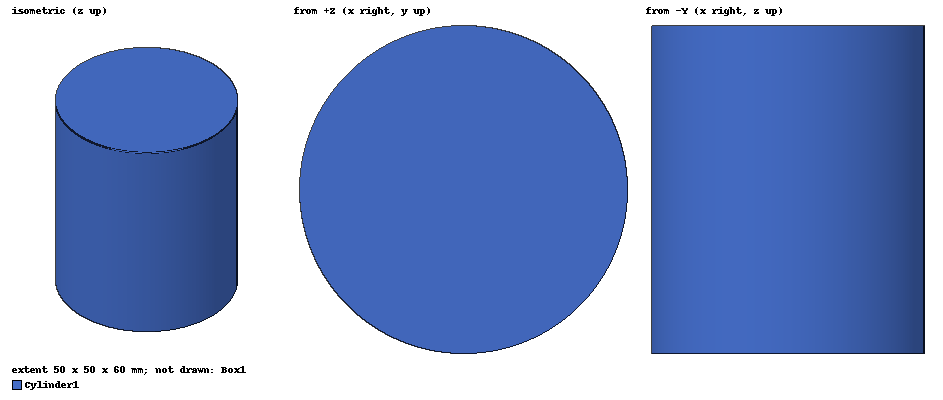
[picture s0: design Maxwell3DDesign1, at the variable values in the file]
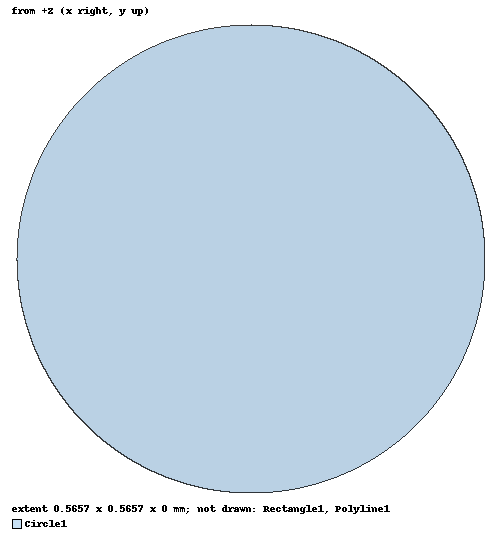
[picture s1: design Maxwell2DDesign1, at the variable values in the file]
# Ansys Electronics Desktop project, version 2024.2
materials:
  vacuum: permittivity=1
  Neodymium Magnet (Cusom): permeability=1.05 magnetic_coercivity{Magnitude=-979kA_per_meter DirComp1=0 DirComp2=0 DirComp3=1}
  air: permittivity=1.0006 permeability=1.0000004
  NdFe35: permittivity=1 permeability=1.0997785 conductivity=625000 magnetic_coercivity{Magnitude=-890000A_per_meter DirComp1=0 DirComp2=0 DirComp3=1} lande_g_factor=2

design Maxwell3DDesign1 (Maxwell 3D, Magnetostatic, model units mm)
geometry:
  coordinate_system RelativeCS1 = origin=(-1.25mm, 1mm, 0mm) x=(1mm, 0mm, 0mm) y=(0mm, 1mm, 0mm)
  coordinate_system RelativeCS2 = origin=(0mm, 0mm, 30mm) x=(1mm, 0mm, 0mm) y=(0mm, 1mm, 0mm) in RelativeCS1
  Cylinder1 [NdFe35] = cylinder(axis=Z, base_centre=(0mm, 0mm, 0mm), radius=25mm, height=60mm) in RelativeCS1
  Box1 [vacuum] = box(corner=(-240mm, -320mm, 0mm), size=(540mm, 720mm, 280mm)) in RelativeCS1
  Box1.move(120mm, 220mm, 0mm) in RelativeCS1
  Box1.move(-220mm, -220mm, 0mm) in RelativeCS1
  Box1.move(0mm, 0mm, -60mm) in RelativeCS1
  Box2 [vacuum, non-model] = box(corner=(160mm, 0mm, 0mm), size=(-160mm, 160mm, 260mm)) in RelativeCS1
  Box2.move(0mm, 0mm, -100mm) in RelativeCS1
  Rectangle1 [non-model] = rectangle(corner=(0mm, 0mm, 0mm), x_size=120mm, y_size=120mm) in RelativeCS1
  Rectangle1.move(0mm, 0mm, 20mm) in RelativeCS1
  Rectangle1_1 [non-model] = Rectangle1.duplicate_around_axis(axis=X, angle=90deg, total=2) in RelativeCS1
  Rectangle1_1.move(-120mm, 0mm, 50mm) in RelativeCS1
  Rectangle1_1.move(0mm, 20mm, 0mm) in RelativeCS1
  Rectangle1_1.move(0mm, 0mm, -20mm) in RelativeCS1
  Polyline1 [non-model] = polyline((0mm, 0mm, 120mm) (0mm, 0mm, 0mm)) in RelativeCS2
  point Point1 = (0mm, 0mm, 0mm) in RelativeCS2
  point Point2 = (0mm, 0mm, 10mm) in RelativeCS2
  point Point3 = (0mm, 0mm, 20mm) in RelativeCS2
  point Point4 = (0mm, -25mm, 30mm) in RelativeCS2
  point Point5 = (0mm, 0mm, 40mm) in RelativeCS2
  point Point6 = (0mm, 0mm, 50mm) in RelativeCS2
  point Point7 = (0mm, 0mm, 60mm) in RelativeCS2
  point Point8 = (0mm, 0mm, 70mm) in RelativeCS2
  point Point9 = (0mm, 0mm, 80mm) in RelativeCS2
  point Point10 = (0mm, 0mm, 90mm) in RelativeCS2
  point Point11 = (0mm, 0mm, 100mm) in RelativeCS2
  point Point12 = (-10mm, 0mm, 0mm) in RelativeCS2
  point Point13 = (-10mm, 0mm, 10mm) in RelativeCS2
  point Point14 = (-10mm, 0mm, 20mm) in RelativeCS2
  point Point15 = (-10mm, 0mm, 30mm) in RelativeCS2
  point Point16 = (-10mm, 0mm, 40mm) in RelativeCS2
  point Point17 = (-10mm, 0mm, 50mm) in RelativeCS2
  point Point18 = (-10mm, 0mm, 60mm) in RelativeCS2
  point Point19 = (-10mm, 0mm, 70mm) in RelativeCS2
  point Point20 = (-10mm, 0mm, 80mm) in RelativeCS2
  point Point21 = (-10mm, 0mm, 90mm) in RelativeCS2
  point Point22 = (-10mm, 0mm, 100mm) in RelativeCS2
  point Point23 = (-20mm, 0mm, 0mm) in RelativeCS2
  point Point24 = (-20mm, 0mm, 10mm) in RelativeCS2
  point Point25 = (-20mm, 0mm, 20mm) in RelativeCS2
  point Point26 = (-20mm, 0mm, 30mm) in RelativeCS2
  point Point27 = (-20mm, 0mm, 40mm) in RelativeCS2
  point Point28 = (-20mm, 0mm, 40mm) in RelativeCS2
  point Point29 = (-20mm, 0mm, 50mm) in RelativeCS2
  point Point30 = (-20mm, 0mm, 60mm) in RelativeCS2
  point Point31 = (-20mm, 0mm, 70mm) in RelativeCS2
  point Point32 = (-20mm, 0mm, 80mm) in RelativeCS2
  point Point33 = (-20mm, 0mm, 90mm) in RelativeCS2
  point Point34 = (-20mm, 0mm, 100mm) in RelativeCS2
  Cylinder1.rotate(axis=Z, angle=90deg) in RelativeCS2
  Box1.rotate(axis=Z, angle=90deg) in RelativeCS2
  Box2.rotate(axis=Z, angle=90deg) in RelativeCS2
  Rectangle1.rotate(axis=Z, angle=90deg) in RelativeCS2
  Rectangle1_1.rotate(axis=Z, angle=90deg) in RelativeCS2
  Polyline1.rotate(axis=Z, angle=90deg) in RelativeCS2
  [Cylinder1, Box1, Box2, Rectangle1, Rectangle1_1, Polyline1].rotate(axis=Z, angle=90deg) in RelativeCS2
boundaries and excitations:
  Insulating1: Insulating Objects=Box1
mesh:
  initial mesh: GlobalCurvilinear{Apply}
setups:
  Setup1: Magnetostatic MaximumPasses=10 MinimumPasses=2 MinimumConvergedPasses=1 PercentRefinement=30 PercentError=1 NonLinearResidual=0.001
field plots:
  B_Vector1, Mag_B1: B in Box1 on Setup1 : LastAdaptive
  B_Vector2, B_Vector3: B in Box2 on Setup1 : LastAdaptive
  Mag_B2, Mag_B3, B_Vector4: B over a plane on Setup1 : LastAdaptive
  H_Vector1, Mag_H1: H over a plane on Setup1 : LastAdaptive

design Maxwell2DDesign1 (Maxwell 2D, Magnetostatic, XY geometry, model units mm)
options: ModelDepth=1meter
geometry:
  Circle1 [vacuum] = circle(normal=Z, centre=(0mm, 0mm, 0mm), radius=0.28284271mm)
  Rectangle1 [vacuum] = rectangle(corner=(-1.6mm, 1mm, 0mm), x_size=3.2mm, y_size=-2mm)
  Polyline1 [air] = polyline(z=0mm, xy in mm: (-1.6, 1) (1.6, 1) (1.6, -1) (-1.6, -1) (-1.6, 1), closed, covered)
